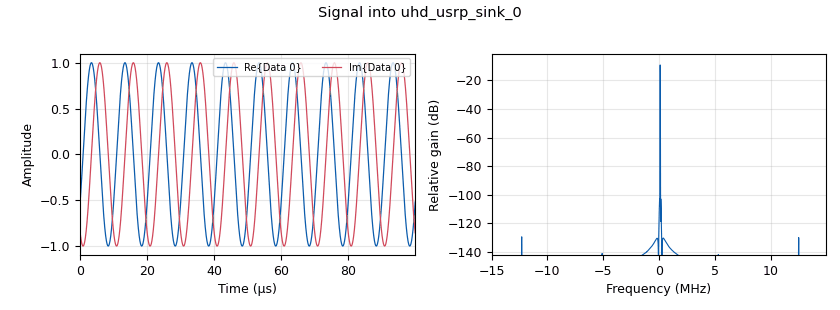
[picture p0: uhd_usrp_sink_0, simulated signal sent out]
options:
  parameters:
    author: keremenhos
    generate_options: qt_gui
    id: helehele
    output_language: python
    title: Not titled yet
  states: {}

blocks:
- name: freq
  id: variable_qtgui_range
  parameters:
    orient: Qt.Horizontal
    start: '1'
    step: '1000'
    stop: '15000000'
    value: '100000'
  states: {}
- name: samp_rate
  id: variable
  parameters:
    value: '30000000'
  states: {}
- name: analog_sig_source_x_0
  id: analog_sig_source_x
  parameters:
    amp: '1'
    freq: freq
    offset: '0'
    phase: '0'
    samp_rate: samp_rate
    type: complex
    waveform: analog.GR_COS_WAVE
  states: {}
- name: qtgui_freq_sink_x_0
  id: qtgui_freq_sink_x
  parameters:
    bw: samp_rate
    fc: '0'
    fftsize: '1024'
    type: complex
    wintype: firdes.WIN_BLACKMAN_hARRIS
  states: {}
- name: qtgui_sink_x_0
  id: qtgui_sink_x
  parameters:
    bw: samp_rate
    fc: '0'
    fftsize: '1024'
    type: complex
    wintype: firdes.WIN_BLACKMAN_hARRIS
  states: {state: disabled}
- name: uhd_usrp_sink_0
  id: uhd_usrp_sink
  parameters:
    ant0: TX/RX
    center_freq0: '0'
    dev_args: '""'
    gain0: '0'
    len_tag_name: ''
    norm_gain0: 'False'
    samp_rate: samp_rate
    sync: sync
    type: fc32
  states: {}
- name: uhd_usrp_source_0
  id: uhd_usrp_source
  parameters:
    ant0: ''
    center_freq0: '0'
    dc_offs_enb0: '""'
    dev_args: '""'
    gain0: '0'
    iq_imbal_enb0: '""'
    norm_gain0: 'False'
    samp_rate: samp_rate
    sync: none
    type: fc32
  states: {}

connections:
- [analog_sig_source_x_0, '0', uhd_usrp_sink_0, '0']
- [uhd_usrp_source_0, '0', qtgui_freq_sink_x_0, '0']
- [uhd_usrp_source_0, '0', qtgui_sink_x_0, '0']

metadata:
  file_format: 1
